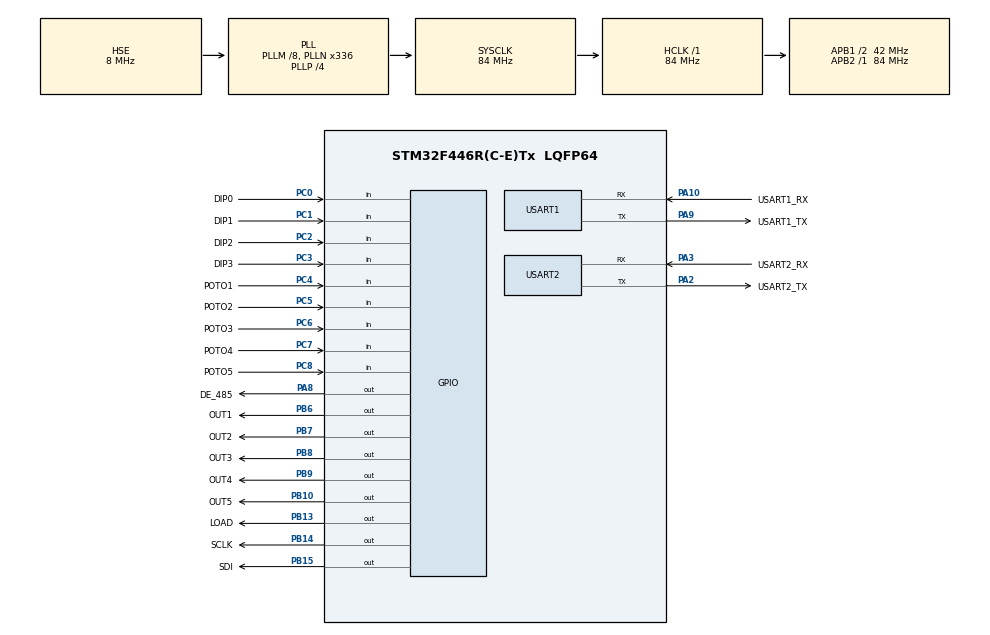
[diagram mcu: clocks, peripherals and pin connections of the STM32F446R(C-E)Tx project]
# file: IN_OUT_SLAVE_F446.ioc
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Mcu.Family=STM32F4
Mcu.Name=STM32F446R(C-E)Tx
Mcu.Package=LQFP64
NVIC.PriorityGroup=NVIC_PRIORITYGROUP_4
NVIC.USART1_IRQn=true\:0\:0\:false\:false\:true\:true\:true\:true
PA10.GPIO_Label=USART1_RX
PA10.Mode=Asynchronous
PA10.Signal=USART1_RX
PA13.GPIO_Label=SYS_SWDIO
PA13.Mode=Serial_Wire
PA13.Signal=SYS_JTMS-SWDIO
PA14.GPIO_Label=SYS_SWCLK
PA14.Mode=Serial_Wire
PA14.Signal=SYS_JTCK-SWCLK
PA2.GPIO_Label=USART2_TX
PA2.Mode=Asynchronous
PA2.Signal=USART2_TX
PA3.GPIO_Label=USART2_RX
PA3.Mode=Asynchronous
PA3.Signal=USART2_RX
PA8.GPIO_Label=DE_485
PA8.GPIO_PuPd=GPIO_PULLUP
PA8.Signal=GPIO_Output
PA9.GPIO_Label=USART1_TX
PA9.Mode=Asynchronous
PA9.Signal=USART1_TX
PB10.GPIO_Label=OUT5
PB10.Signal=GPIO_Output
PB13.GPIO_Label=LOAD
PB13.Signal=GPIO_Output
PB14.GPIO_Label=SCLK
PB14.Signal=GPIO_Output
PB15.GPIO_Label=SDI
PB15.Signal=GPIO_Output
PB6.GPIO_Label=OUT1
PB6.Signal=GPIO_Output
PB7.GPIO_Label=OUT2
PB7.Signal=GPIO_Output
PB8.GPIO_Label=OUT3
PB8.Signal=GPIO_Output
PB9.GPIO_Label=OUT4
PB9.Signal=GPIO_Output
PC0.GPIO_Label=DIP0
PC0.Signal=GPIO_Input
PC1.GPIO_Label=DIP1
PC1.Signal=GPIO_Input
PC2.GPIO_Label=DIP2
PC2.Signal=GPIO_Input
PC3.GPIO_Label=DIP3
PC3.Signal=GPIO_Input
PC4.GPIO_Label=POTO1
PC4.Signal=GPIO_Input
PC5.GPIO_Label=POTO2
PC5.Signal=GPIO_Input
PC6.GPIO_Label=POTO3
PC6.Signal=GPIO_Input
PC7.GPIO_Label=POTO4
PC7.Signal=GPIO_Input
PC8.GPIO_Label=POTO5
PC8.Signal=GPIO_Input
PH0-OSC_IN.Mode=HSE-External-Oscillator
PH0-OSC_IN.Signal=RCC_OSC_IN
PH1-OSC_OUT.Mode=HSE-External-Oscillator
PH1-OSC_OUT.Signal=RCC_OSC_OUT
ProjectManager.HeapSize=0x200
ProjectManager.StackSize=0x400
ProjectManager.TargetToolchain=STM32CubeIDE
RCC.AHBFreq_Value=84000000
RCC.APB1CLKDivider=RCC_HCLK_DIV2
RCC.APB1Freq_Value=42000000
RCC.APB1TimFreq_Value=84000000
RCC.APB2Freq_Value=84000000
RCC.APB2TimFreq_Value=84000000
RCC.CortexFreq_Value=84000000
RCC.HCLKFreq_Value=84000000
RCC.HSE_VALUE=8000000
RCC.PLLM=8
RCC.PLLN=336
RCC.PLLP=RCC_PLLP_DIV4
RCC.PLLSourceVirtual=RCC_PLLSOURCE_HSE
RCC.SYSCLKFreq_VALUE=84000000
RCC.SYSCLKSource=RCC_SYSCLKSOURCE_PLLCLK
RCC.USBFreq_Value=168000000
RCC.VCOOutputFreq_Value=336000000
USART1.VirtualMode=VM_ASYNC
USART2.VirtualMode=VM_ASYNC
board=custom

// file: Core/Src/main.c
/* USER CODE BEGIN Header */
/**
  ******************************************************************************
  * @file           : main.c
  * @brief          : Main program body
  ******************************************************************************
  * @attention
  *
  * Copyright (c) 2026 STMicroelectronics.
  * All rights reserved.
  *
  * This software is licensed under terms that can be found in the LICENSE file
  * in the root directory of this software component.
  * If no LICENSE file comes with this software, it is provided AS-IS.
  *
  ******************************************************************************
  */
/* USER CODE END Header */
#include "main.h"

/* USER CODE BEGIN Includes */
#include "app.h"
#include "log.h"
#include "rs485_if.h"
/* USER CODE END Includes */

UART_HandleTypeDef huart1;
UART_HandleTypeDef huart2;

/* USER CODE BEGIN PV */
static uint8_t g_rx_rs485 = 0;
/* USER CODE END PV */

void SystemClock_Config(void);
static void MX_GPIO_Init(void);
static void MX_USART1_UART_Init(void);
static void MX_USART2_UART_Init(void);

/* USER CODE BEGIN 0 */

static void USART1_RearmRxFromIsr(void)
{
  if (huart1.RxState == HAL_UART_STATE_BUSY_RX) {
    return;
  }
  if ((huart1.RxState != HAL_UART_STATE_READY) ||
      (HAL_UART_Receive_IT(&huart1, &g_rx_rs485, 1) != HAL_OK)) {
    rs485_if_on_rx_rearm_fail_isr();
  }
}

void HAL_UART_RxCpltCallback(UART_HandleTypeDef *huart)
{
  if (huart->Instance == USART1)
  {
    rs485_if_on_rx_isr(g_rx_rs485);
    USART1_RearmRxFromIsr();
  }
}

void HAL_UART_ErrorCallback(UART_HandleTypeDef *huart)
{
  if (huart->Instance == USART1)
  {
    rs485_if_on_uart_error_isr(huart->ErrorCode);

    __HAL_UART_CLEAR_OREFLAG(huart);
    __HAL_UART_CLEAR_NEFLAG(huart);
    __HAL_UART_CLEAR_FEFLAG(huart);
    __HAL_UART_CLEAR_PEFLAG(huart);

    USART1_RearmRxFromIsr();
  }
}

/* USER CODE END 0 */

int main(void)
{

  /* MCU Configuration--------------------------------------------------------*/

  /* Reset of all peripherals, Initializes the Flash interface and the Systick. */
  HAL_Init();

  /* Configure the system clock */
  SystemClock_Config();

  /* Initialize all configured peripherals */
  MX_GPIO_Init();
  MX_USART1_UART_Init();
  MX_USART2_UART_Init();
  /* USER CODE BEGIN 2 */

  HAL_GPIO_WritePin(DE_485_GPIO_Port, DE_485_Pin, GPIO_PIN_RESET);
  log_init(&huart2);
  app_init();
  (void)HAL_UART_Receive_IT(&huart1, &g_rx_rs485, 1);
  log_printf("[BOOT] init done\r\n");

  /* USER CODE END 2 */

  /* Infinite loop */
  /* USER CODE BEGIN WHILE */
  while (1)
  {
    app_loop();
    /* USER CODE END WHILE */

  }
}

void SystemClock_Config(void)
{
  RCC_OscInitTypeDef RCC_OscInitStruct = {0};
  RCC_ClkInitTypeDef RCC_ClkInitStruct = {0};

  /** Configure the main internal regulator output voltage
  */
  __HAL_RCC_PWR_CLK_ENABLE();
  __HAL_PWR_VOLTAGESCALING_CONFIG(PWR_REGULATOR_VOLTAGE_SCALE3);

  /** Initializes the RCC Oscillators according to the specified parameters
  * in the RCC_OscInitTypeDef structure.
  */
  RCC_OscInitStruct.OscillatorType = RCC_OSCILLATORTYPE_HSE;
  RCC_OscInitStruct.HSEState = RCC_HSE_ON;
  RCC_OscInitStruct.PLL.PLLState = RCC_PLL_ON;
  RCC_OscInitStruct.PLL.PLLSource = RCC_PLLSOURCE_HSE;
  RCC_OscInitStruct.PLL.PLLM = 8;
  RCC_OscInitStruct.PLL.PLLN = 336;
  RCC_OscInitStruct.PLL.PLLP = RCC_PLLP_DIV4;
  RCC_OscInitStruct.PLL.PLLQ = 2;
  RCC_OscInitStruct.PLL.PLLR = 2;
  if (HAL_RCC_OscConfig(&RCC_OscInitStruct) != HAL_OK)
  {
    Error_Handler();
  }

  /** Initializes the CPU, AHB and APB buses clocks
  */
  RCC_ClkInitStruct.ClockType = RCC_CLOCKTYPE_HCLK|RCC_CLOCKTYPE_SYSCLK
                              |RCC_CLOCKTYPE_PCLK1|RCC_CLOCKTYPE_PCLK2;
  RCC_ClkInitStruct.SYSCLKSource = RCC_SYSCLKSOURCE_PLLCLK;
  RCC_ClkInitStruct.AHBCLKDivider = RCC_SYSCLK_DIV1;
  RCC_ClkInitStruct.APB1CLKDivider = RCC_HCLK_DIV2;
  RCC_ClkInitStruct.APB2CLKDivider = RCC_HCLK_DIV1;

  if (HAL_RCC_ClockConfig(&RCC_ClkInitStruct, FLASH_LATENCY_2) != HAL_OK)
  {
    Error_Handler();
  }
}

static void MX_USART1_UART_Init(void)
{

  huart1.Instance = USART1;
  huart1.Init.BaudRate = 115200;
  huart1.Init.WordLength = UART_WORDLENGTH_8B;
  huart1.Init.StopBits = UART_STOPBITS_1;
  huart1.Init.Parity = UART_PARITY_NONE;
  huart1.Init.Mode = UART_MODE_TX_RX;
  huart1.Init.HwFlowCtl = UART_HWCONTROL_NONE;
  huart1.Init.OverSampling = UART_OVERSAMPLING_16;
  if (HAL_UART_Init(&huart1) != HAL_OK)
  {
    Error_Handler();
  }

}

static void MX_USART2_UART_Init(void)
{

  huart2.Instance = USART2;
  huart2.Init.BaudRate = 115200;
  huart2.Init.WordLength = UART_WORDLENGTH_8B;
  huart2.Init.StopBits = UART_STOPBITS_1;
  huart2.Init.Parity = UART_PARITY_NONE;
  huart2.Init.Mode = UART_MODE_TX_RX;
  huart2.Init.HwFlowCtl = UART_HWCONTROL_NONE;
  huart2.Init.OverSampling = UART_OVERSAMPLING_16;
  if (HAL_UART_Init(&huart2) != HAL_OK)
  {
    Error_Handler();
  }

}

static void MX_GPIO_Init(void)
{
  GPIO_InitTypeDef GPIO_InitStruct = {0};

  /* GPIO Ports Clock Enable */
  __HAL_RCC_GPIOH_CLK_ENABLE();
  __HAL_RCC_GPIOC_CLK_ENABLE();
  __HAL_RCC_GPIOA_CLK_ENABLE();
  __HAL_RCC_GPIOB_CLK_ENABLE();

  /*Configure GPIO pin Output Level */
  HAL_GPIO_WritePin(GPIOB, OUT5_Pin|LOAD_Pin|SCLK_Pin|SDI_Pin
                          |OUT1_Pin|OUT2_Pin|OUT3_Pin|OUT4_Pin, GPIO_PIN_RESET);

  /*Configure GPIO pin Output Level */
  HAL_GPIO_WritePin(DE_485_GPIO_Port, DE_485_Pin, GPIO_PIN_RESET);

  /*Configure GPIO pins : DIP0_Pin DIP1_Pin DIP2_Pin DIP3_Pin
                           POTO1_Pin POTO2_Pin POTO3_Pin POTO4_Pin
                           POTO5_Pin */
  GPIO_InitStruct.Pin = DIP0_Pin|DIP1_Pin|DIP2_Pin|DIP3_Pin
                          |POTO1_Pin|POTO2_Pin|POTO3_Pin|POTO4_Pin
                          |POTO5_Pin;
  GPIO_InitStruct.Mode = GPIO_MODE_INPUT;
  GPIO_InitStruct.Pull = GPIO_NOPULL;
  HAL_GPIO_Init(GPIOC, &GPIO_InitStruct);

  /*Configure GPIO pins : OUT5_Pin LOAD_Pin SCLK_Pin SDI_Pin
                           OUT1_Pin OUT2_Pin OUT3_Pin OUT4_Pin */
  GPIO_InitStruct.Pin = OUT5_Pin|LOAD_Pin|SCLK_Pin|SDI_Pin
                          |OUT1_Pin|OUT2_Pin|OUT3_Pin|OUT4_Pin;
  GPIO_InitStruct.Mode = GPIO_MODE_OUTPUT_PP;
  GPIO_InitStruct.Pull = GPIO_NOPULL;
  GPIO_InitStruct.Speed = GPIO_SPEED_FREQ_LOW;
  HAL_GPIO_Init(GPIOB, &GPIO_InitStruct);

  /*Configure GPIO pin : DE_485_Pin */
  GPIO_InitStruct.Pin = DE_485_Pin;
  GPIO_InitStruct.Mode = GPIO_MODE_OUTPUT_PP;
  GPIO_InitStruct.Pull = GPIO_PULLUP;
  GPIO_InitStruct.Speed = GPIO_SPEED_FREQ_LOW;
  HAL_GPIO_Init(DE_485_GPIO_Port, &GPIO_InitStruct);

}

void Error_Handler(void)
{
  __disable_irq();
  while (1)
  {
  }
}
